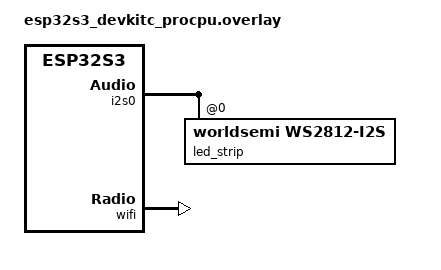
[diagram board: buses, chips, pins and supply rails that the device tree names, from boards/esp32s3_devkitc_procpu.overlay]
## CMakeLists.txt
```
cmake_minimum_required(VERSION 3.20.0)
find_package(Zephyr REQUIRED HINTS $ENV{ZEPHYR_BASE})
project(mqtt_led)

FILE(GLOB app_sources src/*.c)
target_sources(app PRIVATE ${app_sources})
```

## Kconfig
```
# Copyright (c) 2019 Nordic Semiconductor ASA
# SPDX-License-Identifier: Apache-2.0

menu "WS2812 Sample Configuration"

config SAMPLE_LED_UPDATE_DELAY
	int "Delay between LED updates in ms"
	default 50
	help
	  Delay between LED updates in ms.

config SAMPLE_LED_BRIGHTNESS
	int "LED brightness"
	default 16
	range 1 255
	help
	  Brightness level of each LED. Defaults to a low value to make
	  it easier to distinguish colors.

endmenu

menu "MQTT LED Sample Configuration"

config APP_MQTT_BROKER_HOST
	string "MQTT broker hostname or IP address"
	default "broker.emqx.io"
	help
	  The hostname or IP address of the MQTT broker to connect to.

config APP_MQTT_BROKER_PORT
	int "MQTT broker port"
	default 1883
	range 1 65535
	help
	  The port number of the MQTT broker to connect to.

endmenu

source "Kconfig.zephyr"
```

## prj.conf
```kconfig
# LOG
CONFIG_LOG=y
CONFIG_LED_STRIP_LOG_LEVEL_DBG=y
# Debug logs for MQTT
CONFIG_MQTT_LOG_LEVEL_INF=y
CONFIG_LOG_DEFAULT_LEVEL=3
# CONFIG_NET_SOCKETS_LOG_LEVEL_DBG=y
CONFIG_NET_LOG=y
CONFIG_WIFI_LOG_LEVEL_ERR=y

# LED STRIP
CONFIG_LED_STRIP=y
CONFIG_WS2812_STRIP_I2S=y
CONFIG_I2S=y
CONFIG_DMA=y

# NET
CONFIG_EARLY_CONSOLE=y
CONFIG_NETWORKING=y
CONFIG_TEST_RANDOM_GENERATOR=y
CONFIG_MAIN_STACK_SIZE=5200
CONFIG_SHELL_STACK_SIZE=5200
CONFIG_NET_TX_STACK_SIZE=2048
CONFIG_NET_RX_STACK_SIZE=2048
CONFIG_NET_PKT_RX_COUNT=10
CONFIG_NET_PKT_TX_COUNT=10
CONFIG_NET_BUF_RX_COUNT=20
CONFIG_NET_BUF_TX_COUNT=20
CONFIG_NET_MAX_CONTEXTS=10
CONFIG_NET_DHCPV4=y         # auto get IP address
CONFIG_NET_IPV4=y
CONFIG_NET_IPV6=n
CONFIG_NET_TCP=y
CONFIG_INIT_STACKS=y
CONFIG_NET_SHELL=y
CONFIG_NET_STATISTICS=y
CONFIG_NET_STATISTICS_PERIODIC_OUTPUT=n
# printing of scan results puts pressure on queues in new locking
# design in net_mgmt. So, use a higher timeout for a crowded
# environment.
CONFIG_NET_MGMT_EVENT_QUEUE_TIMEOUT=5000
CONFIG_NET_MGMT_EVENT_QUEUE_SIZE=16

# WIFI
CONFIG_WIFI=y
CONFIG_NET_L2_WIFI_SHELL=y
CONFIG_ESP32_WIFI_STA_AUTO_DHCPV4=y

# DNS
CONFIG_DNS_RESOLVER=y
CONFIG_DNS_RESOLVER_ADDITIONAL_QUERIES=1

# MQTT
CONFIG_MQTT_LIB=y
CONFIG_MQTT_KEEPALIVE=60
CONFIG_NET_SOCKETS=y
# Increase heap for MQTT parsing (adjust if needed)
CONFIG_HEAP_MEM_POOL_SIZE=8192
# Optional: enable TLS later
# CONFIG_MBEDTLS=y
# CONFIG_MQTT_LIB_TLS=y
# Allow using getaddrinfo / POSIX helpers
CONFIG_POSIX_API=y
```

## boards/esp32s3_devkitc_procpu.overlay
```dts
#include <zephyr/dt-bindings/led/led.h>

/ {
	aliases {
		led-strip = &led_strip;
	};
};

&i2s0_default {
	group1 {
		pinmux = <I2S0_O_SD_GPIO48>;
		output-enable;
	};
};

i2s_led: &i2s0 {
	status = "okay";

	dmas = <&dma 3>;
	dma-names = "tx";

	led_strip: ws2812@0 {
		compatible = "worldsemi,ws2812-i2s";

		reg = <0>;
		chain-length = <1>;
		color-mapping = <LED_COLOR_ID_GREEN
				 LED_COLOR_ID_RED
				 LED_COLOR_ID_BLUE>;
		reset-delay = <500>;
	};
};

&dma {
	status = "okay";
};

&wifi {
	status = "okay";
};
```

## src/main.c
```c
/*
 * Copyright (c) 2025 Hei Weilu
 * SPDX-License-Identifier: Apache-2.0
 */
#include <errno.h>
#include <string.h>
#include <zephyr/kernel.h>
#include <zephyr/logging/log.h>
#include <zephyr/device.h>
#include <zephyr/drivers/led_strip.h>
#include <zephyr/net/net_if.h>
#include <zephyr/net/net_mgmt.h>
#include <zephyr/net/mqtt.h>
#include <zephyr/net/socket.h>
#include <zephyr/random/random.h>
#include <zephyr/net/dhcpv4.h>
#include <zephyr/net/net_ip.h>
#include <zephyr/net/wifi_mgmt.h>

LOG_MODULE_REGISTER(main, LOG_LEVEL_INF);

/* LED strip (from overlay alias led-strip) */
#define STRIP_NODE DT_ALIAS(led_strip)
#if DT_NODE_HAS_PROP(STRIP_NODE, chain_length)
#define STRIP_NUM_PIXELS DT_PROP(STRIP_NODE, chain_length)
#else
#define STRIP_NUM_PIXELS 1
#endif

static const struct device *strip = DEVICE_DT_GET(STRIP_NODE);
static struct led_rgb pixels[STRIP_NUM_PIXELS];

/* Network events */
#define L4_EVENT_MASK (NET_EVENT_L4_CONNECTED | NET_EVENT_L4_DISCONNECTED | NET_EVENT_IPV4_ADDR_ADD)
static struct net_mgmt_event_callback l4_cb;
static K_SEM_DEFINE(net_ok, 0, 1);

/* MQTT */
static struct mqtt_client client;
static struct sockaddr_storage broker;
static uint8_t rx_buffer[1024];
static uint8_t tx_buffer[1024];
static uint8_t payload_buf[256];
static bool mqtt_connected_flag;

#ifndef CONFIG_APP_MQTT_BROKER_HOST
#define CONFIG_APP_MQTT_BROKER_HOST "broker.emqx.io"
#endif
#ifndef CONFIG_APP_MQTT_BROKER_PORT
#define CONFIG_APP_MQTT_BROKER_PORT 1883
#endif

#define MQTT_SUB_TOPIC "esp32s3/led/cmd"
#define MQTT_PUB_TOPIC "esp32s3/led/status"

/* Wi-Fi auto connection configuration */
#define WIFI_SSID "Ultra"
#define WIFI_PSK  "12345678"

/* Helper: set all LEDs */
static void set_led_color(uint8_t r, uint8_t g, uint8_t b)
{
	for (size_t i = 0; i < STRIP_NUM_PIXELS; i++) {
		pixels[i].r = r;
		pixels[i].g = g;
		pixels[i].b = b;
	}
	if (led_strip_update_rgb(strip, pixels, STRIP_NUM_PIXELS) < 0) {
		LOG_ERR("LED update failed");
	}
}

/* Network event handler */
static void wifi_event_handler(struct net_mgmt_event_callback *cb, uint64_t mgmt_event,
			       struct net_if *iface)
{
	ARG_UNUSED(cb);
	ARG_UNUSED(iface);

	if (mgmt_event == NET_EVENT_IPV4_ADDR_ADD) {
		LOG_INF("IPv4 acquired");
		k_sem_give(&net_ok);
	} else if (mgmt_event == NET_EVENT_L4_CONNECTED) {
		LOG_INF("L4 connected");
		k_sem_give(&net_ok);
	} else if (mgmt_event == NET_EVENT_L4_DISCONNECTED) {
		LOG_INF("L4 disconnected");
	}
}

/* MQTT event handler */
static void mqtt_event_handler(struct mqtt_client *const c, const struct mqtt_evt *evt)
{
	int rc;

	switch (evt->type) {
	case MQTT_EVT_CONNACK:
		if (evt->result != 0) {
			LOG_ERR("MQTT connect failed %d", evt->result);
			break;
		}
		mqtt_connected_flag = true;
		LOG_INF("MQTT connected");
		/* Subscribe */
		{
			struct mqtt_topic topic = {.topic = {.utf8 = (uint8_t *)MQTT_SUB_TOPIC,
							     .size = strlen(MQTT_SUB_TOPIC)},
						   .qos = MQTT_QOS_0_AT_MOST_ONCE};
			const struct mqtt_subscription_list sub_list = {
				.list = &topic, .list_count = 1, .message_id = 1};
			rc = mqtt_subscribe(c, &sub_list);
			if (rc) {
				LOG_ERR("Subscribe failed %d", rc);
			} else {
				LOG_INF("Subscribe sent for topic: %s", MQTT_SUB_TOPIC);
			}
		}
		break;
	case MQTT_EVT_SUBACK:
		LOG_INF("SUBACK received, message_id=%u", evt->param.suback.message_id);
		break;
	case MQTT_EVT_DISCONNECT:
		mqtt_connected_flag = false;
		LOG_INF("MQTT disconnected");
		break;
	case MQTT_EVT_PUBLISH: {
		const struct mqtt_publish_param *p = &evt->param.publish;
		uint32_t len = MIN(p->message.payload.len, sizeof(payload_buf) - 1);

		memset(payload_buf, 0, sizeof(payload_buf));
		mqtt_read_publish_payload(c, payload_buf, len);
		payload_buf[len] = '\0';
		LOG_INF("RX %.*s => %s", p->message.topic.topic.size, p->message.topic.topic.utf8,
			payload_buf);
		/* Commands: red green blue off OR R,G,B */
		if (!strcmp((char *)payload_buf, "red")) {
			set_led_color(0x40, 0, 0);
		} else if (!strcmp((char *)payload_buf, "green")) {
			set_led_color(0, 0x40, 0);
		} else if (!strcmp((char *)payload_buf, "blue")) {
			set_led_color(0, 0, 0x40);
		} else if (!strcmp((char *)payload_buf, "off")) {
			set_led_color(0, 0, 0);
		} else {
			unsigned int r, g, b;

			if (sscanf((char *)payload_buf, "%u,%u,%u", &r, &g, &b) == 3) {
				set_led_color(r & 0xFF, g & 0xFF, b & 0xFF);
			} else {
				LOG_WRN("Unknown command");
			}
		}
		break;
	}
	default:
		break;
	}
}

/* Resolve broker: try IPv4 literal first; if not, attempt DNS (AF_INET). */
static int resolve_broker(void)
{
	struct sockaddr_in *addr4 = (struct sockaddr_in *)&broker;

	memset(addr4, 0, sizeof(*addr4));
	addr4->sin_family = AF_INET;
	addr4->sin_port = htons(CONFIG_APP_MQTT_BROKER_PORT);

	/* 1) Try treat as IPv4 literal */
	if (inet_pton(AF_INET, CONFIG_APP_MQTT_BROKER_HOST, &addr4->sin_addr) == 1) {
		LOG_INF("Broker IPv4 literal %s:%d", CONFIG_APP_MQTT_BROKER_HOST,
			CONFIG_APP_MQTT_BROKER_PORT);
		return 0;
	}

#if defined(CONFIG_DNS_RESOLVER)
	/* 2) DNS lookup */
	struct addrinfo hints = {0};
	struct addrinfo *res = NULL;
	int err;
	char port_str[8];

	snprintk(port_str, sizeof(port_str), "%d", CONFIG_APP_MQTT_BROKER_PORT);
	hints.ai_family = AF_INET; /* Only IPv4 for now */
	hints.ai_socktype = SOCK_STREAM;
	err = getaddrinfo(CONFIG_APP_MQTT_BROKER_HOST, port_str, &hints, &res);

	if (err || !res) {
		LOG_ERR("DNS resolve failed (%d) for %s", err, CONFIG_APP_MQTT_BROKER_HOST);
		if (res) {
			freeaddrinfo(res);
		}
		return -EHOSTUNREACH;
	}
	struct sockaddr_in *resolved = (struct sockaddr_in *)res->ai_addr;

	addr4->sin_addr = resolved->sin_addr;
	freeaddrinfo(res);
	char ipbuf[NET_IPV4_ADDR_LEN];

	net_addr_ntop(AF_INET, &addr4->sin_addr, ipbuf, sizeof(ipbuf));
	LOG_INF("Broker DNS %s -> %s:%d", CONFIG_APP_MQTT_BROKER_HOST, ipbuf,
		CONFIG_APP_MQTT_BROKER_PORT);
	return 0;
#else
	LOG_ERR("CONFIG_APP_MQTT_BROKER_HOST must be IPv4 literal or enable CONFIG_DNS_RESOLVER");
	return -EINVAL;
#endif
}

/* MQTT client setup */
static void app_mqtt_client_prepare(void)
{
	mqtt_client_init(&client);
	client.broker = &broker;
	client.evt_cb = mqtt_event_handler;
	client.client_id.utf8 = (uint8_t *)"esp32s3-led";
	client.client_id.size = strlen((char *)client.client_id.utf8);
	client.user_name = NULL;
	client.password = NULL;
	client.protocol_version = MQTT_VERSION_3_1_0;
	client.transport.type = MQTT_TRANSPORT_NON_SECURE;
	client.rx_buf = rx_buffer;
	client.rx_buf_size = sizeof(rx_buffer);
	client.tx_buf = tx_buffer;
	client.tx_buf_size = sizeof(tx_buffer);
	client.keepalive = CONFIG_MQTT_KEEPALIVE;
}

/* MQTT client connect */
static int mqtt_connect_blocking(void)
{
	int rc = mqtt_connect(&client);

	if (rc) {
		LOG_ERR("mqtt_connect rc=%d", rc);
		return rc;
	}
	int attempts = 100; /* 100 * 50ms ~= 5s */

	while (!mqtt_connected_flag && attempts--) {
		mqtt_input(&client);
		mqtt_live(&client);
		k_msleep(50);
	}
	return mqtt_connected_flag ? 0 : -ETIMEDOUT;
}

static int mqtt_publish_status(void)
{
	char msg[64];

	snprintk(msg, sizeof(msg), "{\"r\":%u,\"g\":%u,\"b\":%u}", pixels[0].r, pixels[0].g,
		 pixels[0].b);
	struct mqtt_publish_param param = {0};

	param.message.topic.topic.utf8 = (uint8_t *)MQTT_PUB_TOPIC;
	param.message.topic.topic.size = strlen(MQTT_PUB_TOPIC);
	param.message.topic.qos = MQTT_QOS_0_AT_MOST_ONCE;
	param.message.payload.data = msg;
	param.message.payload.len = strlen(msg);
	param.message_id = sys_rand16_get();
	param.dup_flag = 0;
	param.retain_flag = 0;
	return mqtt_publish(&client, &param);
}

/* Register callbacks for L4 events */
static void l4_register(void)
{
	net_mgmt_init_event_callback(&l4_cb, wifi_event_handler, L4_EVENT_MASK);
	net_mgmt_add_event_callback(&l4_cb);
}

/* Auto connect to Wi-Fi */
static int wifi_connect_auto(void)
{
	struct net_if *iface = net_if_get_default();
	struct wifi_connect_req_params wifi_params = {0};

	wifi_params.ssid = (uint8_t *)WIFI_SSID;
	wifi_params.ssid_length = strlen(WIFI_SSID);
	wifi_params.security = WIFI_SECURITY_TYPE_PSK; /* WPA/WPA2-PSK: need PSK */
	wifi_params.psk = (uint8_t *)WIFI_PSK;
	wifi_params.psk_length = strlen(WIFI_PSK);
	wifi_params.channel = WIFI_CHANNEL_ANY;    /* auto select channel */
	wifi_params.band = WIFI_FREQ_BAND_2_4_GHZ; /* 2.4 GHz band */
	wifi_params.mfp = WIFI_MFP_OPTIONAL;       /* Management Frame Protection */

	LOG_INF("Connecting to Wi-Fi SSID: %s", WIFI_SSID);

	return net_mgmt(NET_REQUEST_WIFI_CONNECT, iface, &wifi_params, sizeof(wifi_params));
}

int main(void)
{
	int rc;
	LOG_INF("MQTT LED sample start");

	if (!device_is_ready(strip)) {
		LOG_ERR("LED strip not ready");
		return 0;
	}
	set_led_color(0, 0, 0);

	/* Register callbacks for L4 events */
	l4_register();

	/* get default network interface */
	struct net_if *iface = net_if_get_default();

	if (!iface) {
		LOG_ERR("No default net_if");
		return 0;
	}
#if defined(CONFIG_NET_DHCPV4)
	net_dhcpv4_start(iface);
#endif

	/* Auto connect to Wi-Fi */
	int wifi_rc = wifi_connect_auto();

	if (wifi_rc) {
		LOG_ERR("Wi-Fi connect failed: %d", wifi_rc);
		return 0;
	}

	/* Hybrid wait: event semaphore OR polling IPv4 acquisition (timeout 60s) */
	int waited_ms = 0;

	while (true) {
		if (k_sem_take(&net_ok, K_NO_WAIT) == 0) {
			LOG_INF("Network ready (event)");
			break;
		}

		/* Get IPv4 address */
		const struct in_addr *a = net_if_ipv4_get_global_addr(iface, NET_ADDR_PREFERRED);

		if (!a) {
			a = net_if_ipv4_get_global_addr(iface, NET_ADDR_ANY);
		}
		if (a) {
			char ipbuf[NET_IPV4_ADDR_LEN];

			net_addr_ntop(AF_INET, a, ipbuf, sizeof(ipbuf));

			LOG_INF("Network ready (poll) IPv4=%s", ipbuf);
			break;
		}
		if (waited_ms >= 60000) {
			LOG_WRN("Timeout waiting network, continue anyway");
			break;
		}
		LOG_INF("Waiting for network...");
		k_msleep(1000);
		waited_ms += 1000;
	}

	if (resolve_broker()) {
		return 0;
	}

	app_mqtt_client_prepare();

retry_connect:
	LOG_INF("Connecting MQTT broker %s:%d", CONFIG_APP_MQTT_BROKER_HOST,
		CONFIG_APP_MQTT_BROKER_PORT);
	rc = mqtt_connect_blocking();
	if (rc) {
		LOG_ERR("MQTT connect failed rc=%d, retry in 3s", rc);
		k_msleep(3000);
		goto retry_connect;
	}

	uint32_t publish_counter = 0;

	for (;;) {
		int irc = mqtt_input(&client);

		if (irc && irc != -EAGAIN) {
			LOG_WRN("mqtt_input rc=%d", irc);
		}
		mqtt_live(&client);

		if (!mqtt_connected_flag) {
			LOG_WRN("Lost MQTT, reconnecting");
			mqtt_abort(&client);
			k_msleep(1000);
			goto retry_connect;
		}

		if ((publish_counter++ % 100) == 0) {
			rc = mqtt_publish_status();
			if (rc) {
				LOG_WRN("Status publish failed %d", rc);
			} else {
				LOG_DBG("Status published");
			}
		}
		k_msleep(50);
	}

	return 0;
}
```
